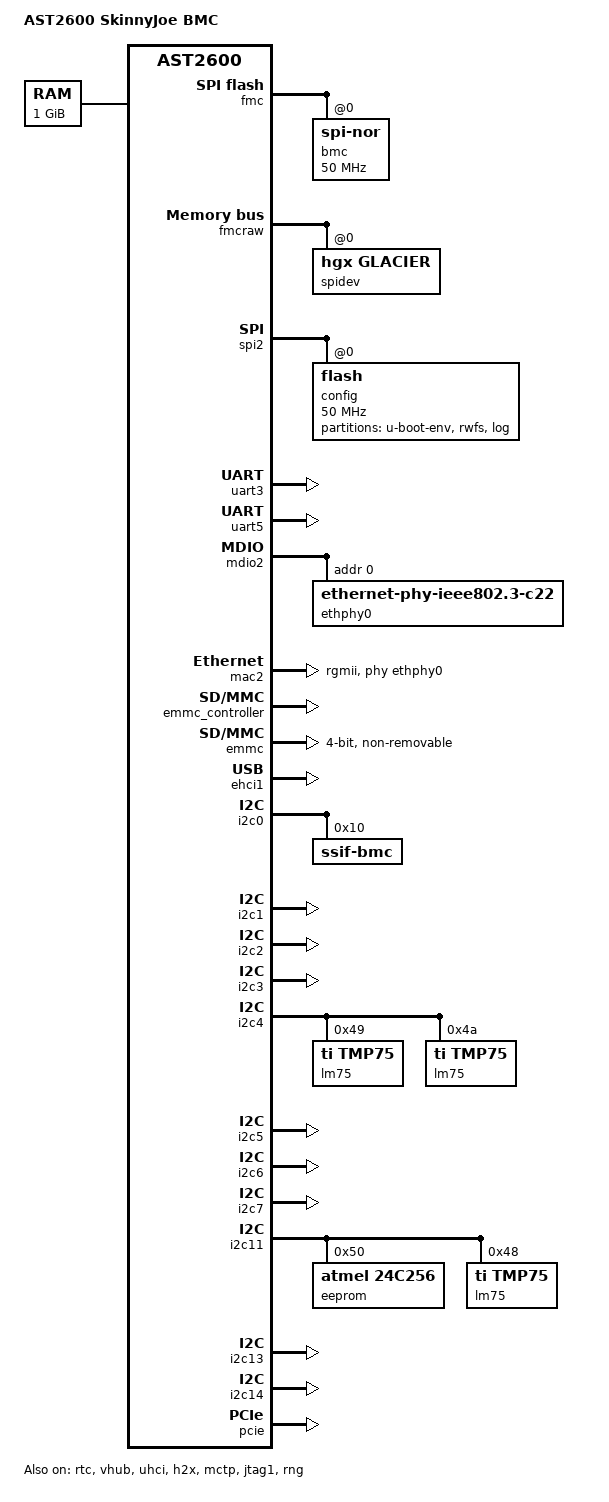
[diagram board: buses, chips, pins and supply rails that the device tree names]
// SPDX-License-Identifier: GPL-2.0+
/dts-v1/;

#include "aspeed-g6.dtsi"
#include <dt-bindings/gpio/aspeed-gpio.h>
#include <dt-bindings/leds/common.h>

/ {
	model = "AST2600 SkinnyJoe BMC";
	compatible = "aspeed,ast2600";

	aliases {
		serial2 = &uart3;
		serial4 = &uart5;
	};

	chosen {
		stdout-path = &uart5;
		bootargs = "console=tty0 console=ttyS4,115200 earlyprintk";
	};

	memory@80000000 {
		reg = <0x80000000 0x40000000>;
	};

        power-gpios{
                n2-gpios = <&gpio0 ASPEED_GPIO(N, 2) (GPIO_ACTIVE_HIGH|GPIO_PULL_UP)>;
                n3-gpios = <&gpio0 ASPEED_GPIO(N, 3) (GPIO_ACTIVE_HIGH|GPIO_PULL_UP)>;
        };

};

&gpio0 {
        gpio-line-names =

        /* gpio-line-names are the combination of <AST2600 gpio>-<signal>-<I/O> , "" is the placeholder for the unused pins*/
        
	/* 204 (26*8) 3.3V GPIOs */

	/*A0-A7*/
	"", "", "", "", "", "", "", "",
	
	/*B0-B7*/
	"B0-BMC_I2C_SSIF_ALERT_L-O",
	"B1-BMC_I2C0_FPGA_ALERT_L-I",
	"B2-BMC_I2C1_FPGA_ALERT_L-I",
	"B3-I2C_3P3V_BR_ALERT_L-I",
	"B4-SHDN_OK_L-I",
	"B5-SHDN_REQ_L-O",
	"", "",

	/*C0-C7*/
	"", "", "", "", "", "", "", "",

	/*D0-D7*/
	"", "", "", "", "", "", "", "",
	
	/*E0-E7*/
	"", "", "", "", "", "", "", "",

	/*F0-F7*/
	"F0-IOM0_MOD_ID0-O",
	"F1-IOM0_MOD_ID1-O",
	"F2-IOM0_MOD_ID2-O",
	"F3-IOM0_MOD_ID3-O",
	"F4-IOM_PWR_EN-O",
	"F5-IOM_PWR_SYS_GOOD-I",
	"F6-IOM0_OVT_SHTDN-I",
	"F7-IOM0_OVT_WARN_L-I",

	/*G0-G7*/
	"", "", "", "", "", "", "", "",

	/*H0-H7*/
	"H0-FPGA_RSVD_FFU4-I/O",
	"H1-FPGA_RSVD_FFU3-I/O",
	"H2-FPGA_RSVD_FFU2-I/O",
	"H3-FPGA_RSVD_FFU5-I/O",
	"", "", "", "",

	/*I0-I7*/
	"", "", "", "", "",
	"I5-QSPI2_RST*_SP-O",
	"I6-GLOBAL_WP-O",
	"I7-BMC_DDR4_TEN_SP-O",

	/*J0-J7*/
	"", "", "", "", "", "", "", "",
 
	/*K0-K7*/
	"", "", "", "", "", "", "", "",

	/*L0-L7*/
	"", "", "", "", "", "", "", "",

	/*M0-M7*/
	"", "", "", "", "", "", "", "",

	/*N0-N7*/
	"N0-L2_RST_REQ_OUT_L-I",
	"N1-L0L1_RST_REQ_OUT_L-I",
	"N2-SYS_RST_OUT_L-I",
	"N3-SYS_RST_IN_L-O",
	"N4-RSVD_PARTNER0-I/O",	
	"N5-RSVD_PARTNER1-I/O",
	"", "",

	/*O0-O7*/
	"O0-LOCAL_RUN_PWR_EN-O",
	"O1-RUN_POWER_PG-I",
	"O2-PWR_BRAKE_L-O",
	"O3-RUN_POWER_EN-O",
	"O4-RUN_POWER_FAULT_L-I",
	"O5-THERM_BB_OVERT_L-I",
	"O6-THERM_BB_WARN_L-I",
	"O7-THERM_FPGA_OVERT_L-I",

	/*P0-P7*/
	"P0-IOM1_PRSNT_L-I",
	"P1-IOM0_PRSNT_L-I",
	"P2-I2C_RTC_ALERT_L-I",
	"P3-RTC_CLR_L-O",
	"P4-BB_PRSNT_L-I",
	"P5-PCB_TEMP_ALERT_L-I",
	"P6-JTAG_MUX_SELECT-O",
	"P7-BMC_HBLED-O",

	/*Q0-Q7*/
	"Q0-IOM1_MOD_ID0-O",
	"Q1-IOM1_MOD_ID1-O",
	"Q2-IOM1_MOD_ID2-O",
	"Q3-IOM1_MOD_ID3-O",
	"Q4-SHDN_FORCE_L-O",
	"Q5-IOM1_PGOOD-I",
	"Q6-IOM1_OVT_SHTDN_LATCH-I",
	"Q7-IOM1_OVT_WARN_L-I",

	/*R0-R7*/
	"R0-FPGA_READY-I",
	"R1-SP0_AP_INTR_N-I",
	"R2-BMC_EP_PERST_EN-O",
	"R3-BMC_SPI_EROT_FPGA_INT_L-I",
	"R4-BMC_EROT_FPGA_SPI_MUX_SEL-O",
	"R5-EROT_FPGA_RST_L-O",
	"R6-FPGA_EROT_RECOVERY_L-O",
	"R7-FPGA_EROT_FATAL_ERROR_L-I",

	/*S0-S7*/
	"", "", "", "", "", "", "", "",

	/*T0-T7*/
	"T0-SLOT1_PRSNT_L",
	"T1-SLOT2_PRSNT_L",
	"T2-SLOT3_PRSNT_L",
	"T3-SLOT4_PRSNT_L",
	"T4-SLOT5_PRSNT_L",
	"", "", "",

	/*U0-U7*/
	"U0-I2C_M20_ALERT_L-I",
	"U1-I2C_M21_ALERT_L-I",
	"U2-10GBE_SMBALRT_L-I",
	"U3-PWR_BTN_L-I",
	"U4-RST_BTN_L-I",
	"", "", "",

	/*V0-V7*/
	"V0-AP_EROT_REQ-O",
	"V1-EROT_AP_GNT-I",
	"V2-BMC_READY-O",
	"V3-FPGA_RSVD_FFU1-I/O",
	"V4-LOC_PCB_TEMP_ALERT_L-I",
	"V5-I2C_BUS8_MUX_RESET_L-I/O",
	"V6-I2C_BUS7_MUX_RESET_L-I/O",
	"V7-I2C_BUS6_MUX_RESET_L-I/O",

	/*W0-W7*/
	"W0-HMC_PRESENT_L-I",
	"W1-HMC_READY-I",
	"W2-3V3_M21_PG-I",
	"W3-3V3_M20_PG-I",
	"W4-PS_VDD_1P05V_PGOOD-I",
	"W5-FPGA_RST_L-O",
	"W6-STBY_POWER_PG-I",
	"W7-STBY_POWER_EN-O",

	/*X0-X7*/
	"", "", "", "", "", "", "", "",

	/*Y0-Y7*/
	"Y0-FPGA_WATCH_DOG_TIMER0_L-I",
	"Y1-FPGA_WATCH_DOG_TIMER1_L-I",
	"Y2-FPGA_WATCH_DOG_TIMER2_L-I",
	"",
	"Y4-BMC_EMMC_RST_L-O",
	"", "", "",

	
	/*Z0-Z7*/
	"", "", "", "", "", "", "", "";

     
};
&gpio1 {
        /* 36 1.8V GPIOs */
	gpio-line-names =
	/*AA0-AA7*/
	"18A0-PS_VDD_3P3V_PGOOD-I",
	"18A1-PS_VDD_5P0V_PGOOD-I",
	"18A2-ID_BTN_N-I",
	"18A3-ID_LED_N-O",
	"18A4-SYS_FAULT_LED_N-O",
	"18A5-PWR_LED_N-O",
	"18A6-CHASSIS_CPLD_LATCH_N-O",
	"18A7-CPLD_REFRESH_DONE-I",

	/*AB0-AB7*/
	/* Dragon Support */
	"18B0-PMBUS_REQ_N-O",
	"18B1-PMBUS_GNT_N-I",
	"18B2-PSU_FW_UPDATE_REQ_N-O",
	"18B3-PSU_FW_UPDATING_N-I",
	"18B4-NODE_LOC_ID3-I",
	"18B5-NODE_LOC_ID2-I",
	"18B6-NODE_LOC_ID1-I",
	"18B7-NODE_LOC_ID0-I",

	/*AC0-AC7*/
	"", "", "", "", "", "", "", "",

	/*AD0-AD7*/
	"", "", "", "", "", "", "", "",

        /*AE0-AE7*/     
	"", "", "", "", "", "", "", "";
};

// Enabled Primary flash on FMC for bring up activity
&fmc {
    status = "okay";
    flash@0 {
        status = "okay";
        compatible = "jedec,spi-nor";
        label = "bmc";
        spi-max-frequency = <50000000>;
#include "aspeed-bmc-nvidia-e4830-flash-layout-64.dtsi"
    };
};

&fmcraw {
    status = "okay";
    spidev@0 {
        compatible = "hgx,glacier";
        status = "okay";
    };
};

&spi2 {
    status = "okay";
    pinctrl-names = "default";
    pinctrl-0 = <&pinctrl_spi2_default>;

    flash@0 {
        status = "okay";
        label = "config";
        spi-max-frequency = <50000000>;
        partitions {
            compatible = "fixed-partitions";
            #address-cells = <1>;
            #size-cells = <1>;

            u-boot-env@0 {
                reg = <0x0 0x40000>;
                label = "u-boot-env";
            };

            rwfs@40000 {
                reg = <0x40000 0x1000000>;
                label = "rwfs";
            };

            log@3800000 {
                reg = <0x3800000 0xc800000>; // 200 MB
                label = "log";
            };
        };
    };
};

&rtc {
        status = "okay";
};

&uart3 {
        //Enabling SOL
        status = "okay";
        
};


&uart5 {
	// BMC Debug Console
	status = "okay";
};

// MAC3 (per schematics, 1-based MAC1-MAC4) of AST2600 connected to external PHY
// This is "mac2" in zero-based DTS
&mdio2 {
        status = "okay";
        ethphy0: ethernet-phy@0 {
            compatible = "ethernet-phy-ieee802.3-c22";
            reg = <0>;
       };
};

&mac2 {
	status = "okay";
	pinctrl-names = "default";
        phy-mode = "rgmii";
        max-speed = <1000>;
        phy-handle = <&ethphy0>;
	pinctrl-0 = <&pinctrl_rgmii3_default>;
};
// Enable emmc
&emmc_controller {
        status = "okay";
};

&emmc {
        non-removable;
        bus-width = <4>;
        max-frequency = <52000000>;
};

/*
 * Enable port A as device (via the virtual hub) and port B as
 * host by default on the eval board. This can be easily changed
 * by replacing the override below with &ehci0 { ... } to enable
 * host on both ports.
 */
&vhub {
   status = "okay";
};
// USB 2.0 to HMC & Host BMC connectivity
&ehci1 {
   status = "okay";
};

// USB 1.0
&uhci {
   status = "okay";
};

// I2C1, SSIF IPMI interface
&i2c0 {
    status = "okay";
        ssif-bmc@10 {
        compatible = "ssif-bmc";
               reg = <0x10>;
        };
};

// I2C2, BMC_I2C1_FPGA
&i2c1 {
    status = "okay";
};

// I2C3, BMC_I2C0_FPGA
&i2c2 {
    status = "okay";
};

// I2C4, BMC_I2C0_FPGA
&i2c3 {
    status = "okay";
};

// I2C5, BMC_I2C_STBY_TELEM
&i2c4 {
    status = "okay";
    lm75@49 {
        compatible = "ti,tmp75";
        reg = <0x49>;
    };

    lm75@4a {
        compatible = "ti,tmp75";
        reg = <0x4a>;
    };
};

// I2C6, I2C_BMC_IOM_EXP
&i2c5 {
    status = "okay";
};

// I2C7, I2C_BMC_IOM_EXP
&i2c6 {
    status = "okay";
};

// I2C8, BMC_I2C_PCI
&i2c7 {
    status = "okay";
};

// I2C12, I2C12_BSDL
&i2c11 {
    status = "okay";

    // FRU
    eeprom@50 {
    compatible = "atmel,24c256";
    reg = <0x50>;
    };

    lm75@48 {
        compatible = "ti,tmp75";
        reg = <0x48>;
    };
};

// I2C14, BMC_I2C_HDR1
&i2c13 {
    status = "okay";
};

// I2C15, BMC_I2C_HDR2
&i2c14 {
    status = "okay";
};

// PCIe RC
&pcie {
        status = "okay";

        interrupts = <GIC_SPI 168 IRQ_TYPE_LEVEL_HIGH>;

        pcie_intc0: legacy-interrupt-controller {
                interrupts = <GIC_SPI 168 IRQ_TYPE_EDGE_RISING>;
        };
};

// Bridge between AHB bus and PCIe RC.
&h2x {
        status = "okay";
};

&mctp {
    status = "okay";
};

&jtag1 {
		mux-gpios = <&gpio0 126 (GPIO_ACTIVE_LOW | GPIO_PULL_UP)>;
		status = "okay";
};

&rng {
	status = "okay";
};

